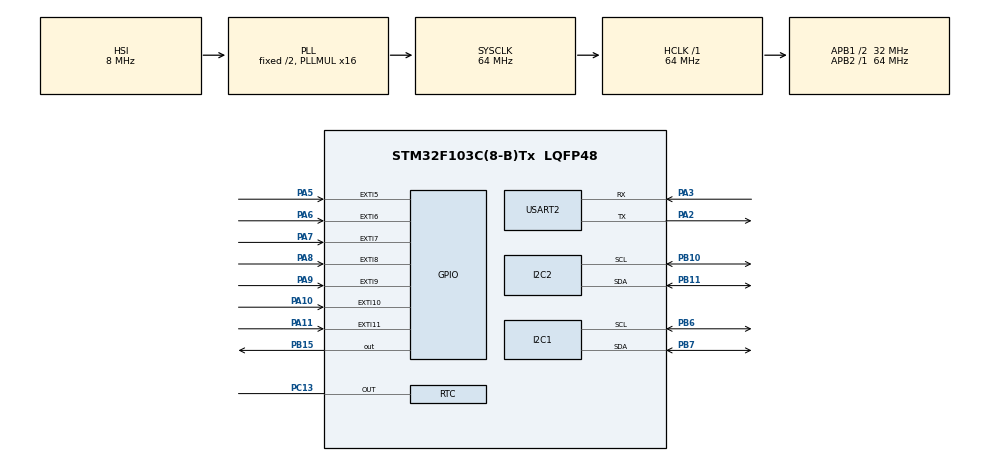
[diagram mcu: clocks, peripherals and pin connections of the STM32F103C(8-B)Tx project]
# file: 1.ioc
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Dma.I2C2_RX.1.Direction=DMA_PERIPH_TO_MEMORY
Dma.I2C2_RX.1.Instance=DMA1_Channel5
Dma.I2C2_RX.1.MemDataAlignment=DMA_MDATAALIGN_BYTE
Dma.I2C2_RX.1.MemInc=DMA_MINC_ENABLE
Dma.I2C2_RX.1.Mode=DMA_CIRCULAR
Dma.I2C2_RX.1.PeriphDataAlignment=DMA_PDATAALIGN_BYTE
Dma.I2C2_RX.1.PeriphInc=DMA_PINC_DISABLE
Dma.I2C2_RX.1.Priority=DMA_PRIORITY_LOW
Dma.MEMTOMEM.0.Direction=DMA_MEMORY_TO_MEMORY
Dma.MEMTOMEM.0.Instance=DMA1_Channel1
Dma.MEMTOMEM.0.MemDataAlignment=DMA_MDATAALIGN_BYTE
Dma.MEMTOMEM.0.MemInc=DMA_MINC_ENABLE
Dma.MEMTOMEM.0.Mode=DMA_NORMAL
Dma.MEMTOMEM.0.PeriphDataAlignment=DMA_PDATAALIGN_BYTE
Dma.MEMTOMEM.0.PeriphInc=DMA_PINC_ENABLE
Dma.MEMTOMEM.0.Priority=DMA_PRIORITY_LOW
Dma.Request0=MEMTOMEM
Dma.Request1=I2C2_RX
Mcu.Family=STM32F1
Mcu.Name=STM32F103C(8-B)Tx
Mcu.Package=LQFP48
Mcu.UserConstants=a,1
NVIC.DMA1_Channel1_IRQn=true\:0\:0\:false\:false\:true\:true\:true
NVIC.DMA1_Channel5_IRQn=true\:0\:0\:false\:false\:true\:false\:true
NVIC.EXTI15_10_IRQn=true\:0\:0\:false\:false\:true\:true\:true
NVIC.EXTI9_5_IRQn=true\:0\:0\:false\:false\:true\:true\:true
NVIC.I2C1_ER_IRQn=true\:0\:0\:false\:false\:true\:true\:true
NVIC.I2C1_EV_IRQn=true\:0\:0\:false\:false\:true\:true\:true
NVIC.I2C2_ER_IRQn=true\:0\:0\:false\:false\:true\:true\:true
NVIC.I2C2_EV_IRQn=true\:0\:0\:false\:false\:true\:true\:true
NVIC.PriorityGroup=NVIC_PRIORITYGROUP_4
NVIC.RTC_IRQn=true\:0\:0\:false\:false\:true\:true\:true
NVIC.TIM1_BRK_IRQn=true\:0\:0\:false\:false\:true\:true\:true
NVIC.TIM1_CC_IRQn=true\:0\:0\:false\:false\:true\:true\:true
NVIC.TIM1_TRG_COM_IRQn=true\:0\:0\:false\:false\:true\:true\:true
NVIC.TIM1_UP_IRQn=true\:0\:0\:false\:false\:true\:true\:true
NVIC.USART2_IRQn=true\:0\:0\:false\:false\:true\:true\:true
PA10.GPIO_ModeDefaultEXTI=GPIO_MODE_IT_FALLING
PA10.GPIO_PuPd=GPIO_PULLUP
PA10.Signal=GPXTI10
PA11.GPIO_ModeDefaultEXTI=GPIO_MODE_IT_FALLING
PA11.GPIO_PuPd=GPIO_PULLUP
PA11.Signal=GPXTI11
PA13.Mode=Serial_Wire
PA13.Signal=SYS_JTMS-SWDIO
PA14.Mode=Serial_Wire
PA14.Signal=SYS_JTCK-SWCLK
PA2.Mode=Asynchronous
PA2.Signal=USART2_TX
PA3.Mode=Asynchronous
PA3.Signal=USART2_RX
PA5.GPIO_ModeDefaultEXTI=GPIO_MODE_IT_FALLING
PA5.GPIO_PuPd=GPIO_PULLUP
PA5.Signal=GPXTI5
PA6.GPIO_ModeDefaultEXTI=GPIO_MODE_IT_FALLING
PA6.GPIO_PuPd=GPIO_PULLUP
PA6.Signal=GPXTI6
PA7.GPIO_ModeDefaultEXTI=GPIO_MODE_IT_FALLING
PA7.GPIO_PuPd=GPIO_PULLUP
PA7.Signal=GPXTI7
PA8.GPIO_ModeDefaultEXTI=GPIO_MODE_IT_FALLING
PA8.GPIO_PuPd=GPIO_PULLUP
PA8.Signal=GPXTI8
PA9.GPIO_ModeDefaultEXTI=GPIO_MODE_IT_FALLING
PA9.GPIO_PuPd=GPIO_PULLUP
PA9.Signal=GPXTI9
PB10.Mode=I2C
PB10.Signal=I2C2_SCL
PB11.Mode=I2C
PB11.Signal=I2C2_SDA
PB15.Signal=GPIO_Output
PB6.Mode=I2C
PB6.Signal=I2C1_SCL
PB7.Mode=I2C
PB7.Signal=I2C1_SDA
PC13-TAMPER-RTC.Mode=RTC OUT
PC13-TAMPER-RTC.Signal=RTC_OUT
ProjectManager.HeapSize=0x200
ProjectManager.StackSize=0x400
ProjectManager.TargetToolchain=MDK-ARM V5
RCC.AHBFreq_Value=64000000
RCC.APB1CLKDivider=RCC_HCLK_DIV2
RCC.APB1Freq_Value=32000000
RCC.APB1TimFreq_Value=64000000
RCC.APB2Freq_Value=64000000
RCC.APB2TimFreq_Value=64000000
RCC.HCLKFreq_Value=64000000
RCC.PLLMUL=RCC_PLL_MUL16
RCC.SYSCLKFreq_VALUE=64000000
RCC.SYSCLKSource=RCC_SYSCLKSOURCE_PLLCLK
RCC.USBFreq_Value=64000000
RTC.Format=RTC_FORMAT_BIN
RTC.OutPut=RTC_OUTPUTSOURCE_SECOND
TIM1.Period=999
TIM1.Prescaler=63
USART2.VirtualMode=VM_ASYNC
VP_CRC_VS_CRC.Mode=CRC_Activate
VP_RTC_VS_RTC_Activate.Mode=RTC_Enabled
VP_RTC_VS_RTC_Calendar.Mode=RTC_Calendar
VP_TIM1_VS_ClockSourceINT.Mode=Internal
board=custom

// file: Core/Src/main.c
/* USER CODE BEGIN Header */
/**
  ******************************************************************************
  * @file           : main.c
  * @brief          : Main program body
  ******************************************************************************
  * @attention
  *
  * <h2><center>&copy; Copyright (c) 2022 STMicroelectronics.
  * All rights reserved.</center></h2>
  *
  * This software component is licensed by ST under BSD 3-Clause license,
  * the "License"; You may not use this file except in compliance with the
  * License. You may obtain a copy of the License at:
  *                        opensource.org/licenses/BSD-3-Clause
  *
  ******************************************************************************
  */
/* USER CODE END Header */
#include "main.h"
#include "crc.h"
#include "dma.h"
#include "i2c.h"
#include "rtc.h"
#include "tim.h"
#include "usart.h"
#include "gpio.h"

/* USER CODE BEGIN Includes */
#include "stdio.h"
#include "oled.h"
#include "ds18b20.h"
/* USER CODE END Includes */

/* USER CODE BEGIN PTD */
#define time_sleep 20000		//设置休眠时间，单位ms
char lcdLine_1st_line[16];
char lcdLine_2st_line[16];
unsigned int time_100ms=1,time_500ms=1,sleep_time=1;
unsigned int key_flag=0;
unsigned int key_1=0;	//判断按键1按下次数
float value;
/* USER CODE END PTD */

void SystemClock_Config(void);

/* USER CODE BEGIN 0 */
void key(void);
void sleep(void);
void time(void);
/* USER CODE END 0 */

int main(void)
{

  /* MCU Configuration--------------------------------------------------------*/

  /* Reset of all peripherals, Initializes the Flash interface and the Systick. */
  HAL_Init();

  /* Configure the system clock */
  SystemClock_Config();

  /* Initialize all configured peripherals */
  MX_GPIO_Init();
  MX_DMA_Init();
  MX_CRC_Init();
  MX_I2C1_Init();
  MX_I2C2_Init();
  MX_RTC_Init();
  MX_TIM1_Init();
  MX_USART2_UART_Init();
  /* USER CODE BEGIN 2 */
	HAL_Delay(100);
	OLED_Init();
	HAL_TIM_Base_Start_IT(&htim1);
	sprintf(lcdLine_2st_line, "welcome");
	DS18B20_Init();
//	HAL_RTC_SetAlarm_IT(&hrtc,);
  /* USER CODE END 2 */

  /* Infinite loop */
  while (1)
  {

    /* USER CODE BEGIN 3 */
//		HAL_GPIO_TogglePin(GPIOB, GPIO_PIN_15);
//		HAL_Delay(1000);

		if(time_500ms==1)
		{
			HAL_RTC_GetTime(&hrtc, &sTime, RTC_FORMAT_BIN);
			HAL_RTC_GetDate(&hrtc, &sdata, RTC_FORMAT_BIN);
			value=DS18B20_Get_Temp();
			time_500ms=0;
		}
		if(time_100ms==1)
		{
			OLED_ShowString(0, 0, (unsigned char *)lcdLine_1st_line, 16);
			OLED_ShowString(0, 2, (unsigned char *)lcdLine_2st_line, 16);
			time_100ms=0;
		}
		key();
		time();
  }
  /* USER CODE END 3 */
}
/* USER CODE BEGIN 4 */
void key()		//控制显示屏第二行
{
	static unsigned int hour,min,sec;
	static unsigned int time_allow=0,clock_allow=0,temp_allow;
	if(key_flag!=0)
	{
		sleep_time=1;
		HAL_GPIO_TogglePin(GPIOB, GPIO_PIN_15);
		if(key_flag==1)		//设置时间、闹钟、温度查看的按键
		{
			if(key_1==0)		//查看时间
			{
				OLED_Clear();
				hour=sTime.Hours;
				min=sTime.Minutes;
				sec=sTime.Seconds;
				time_allow=1;clock_allow=0;temp_allow=0;
				OLED_ShowString(84, 2, (unsigned char *)"time", 8);
			}
			if(key_1==1)		//查看闹钟
			{
				OLED_Clear();
				time_allow=0;clock_allow=1;temp_allow=0;
				OLED_ShowString(84, 2, (unsigned char *)"alarm ", 8);
			}
			if(key_1==2)		//查看温度
			{
				OLED_Clear();
				time_allow=0;clock_allow=0;temp_allow=1;
				OLED_ShowString(45, 2, (unsigned char *)".C", 8);
			}
			key_1++;
			if(key_1==3)	key_1=0;
		}
		if(key_flag==2)		//确认键
		{
			if(time_allow==1)
			{
				sTime.Hours=hour;
				sTime.Minutes=min;
				sTime.Seconds=sec;
				HAL_RTC_SetTime(&hrtc, &sTime, RTC_FORMAT_BIN);
			}
		}
		if(key_flag==6)		//断电键
		{
			time_allow=0;clock_allow=0;
			sleep_time=time_sleep-1;	//下一个1ms便断电
		}
		key_flag=0;
	}
	//以下代码，附属摁键1之后的操作
	{
		if(time_allow==1)
		{
			if(key_flag==3)
			{
				hour++;
				if(hour==24)	hour=0;
			}
			if(key_flag==4)
			{
				min++;
				if(min==60)		min=0;
			}
			if(key_flag==5)
			{
				sec++;
				if(sec==60)		sec=0;
			}
			if(sleep_time!=0)
				sprintf(lcdLine_2st_line, "%2d:%2d:%2d",hour,min,sec);
		}
		if(temp_allow==1)
		{
			if(sleep_time!=0)
				sprintf(lcdLine_2st_line, "%.2f",value);
		}
	}
}
void time()		//控制显示屏第一行——时间
{
	if(sleep_time!=0)
	{
		sprintf(lcdLine_1st_line, "%2d-%2d-%2d",sTime.Hours,sTime.Minutes,sTime.Seconds);
		if(sTime.Hours<13)
		{
			OLED_ShowString(72, 0, (unsigned char *)"AM", 8);
		}
		if(sTime.Hours>13)
		{
			OLED_ShowString(72, 0, (unsigned char *)"PM", 8);
		}
	}
}
void sleep()
{
	key_1=0;
	sprintf(lcdLine_1st_line, "                    ");
	sprintf(lcdLine_2st_line, "                    ");
}
//void HAL_RTC_AlarmAEventCallback(RTC_HandleTypeDef *hrtc)
//{
//	HAL_GPIO_TogglePin(GPIOB, GPIO_PIN_15);
//}
void HAL_GPIO_EXTI_Callback(uint16_t GPIO_Pin)
{
	static unsigned int i=0;
	if(GPIO_Pin==GPIO_PIN_5)
	{
		i++;
		if(i==2)
		{
			key_flag=1;		//设置键
			i=0;
		}
	}
	if(GPIO_Pin==GPIO_PIN_6)
	{
		i++;
		if(i==2)
		{
			key_flag=2;
			i=0;
		}
	}
	if(GPIO_Pin==GPIO_PIN_7)
	{
		i++;
		if(i==3)
		{
			key_flag=3;
			i=0;
		}
	}
	if(GPIO_Pin==GPIO_PIN_8)
	{
		i++;
		if(i==2)
		{
			key_flag=4;
			i=0;
		}
	}
	if(GPIO_Pin==GPIO_PIN_9)
	{
		i++;
		if(i==2)
		{
			key_flag=5;
			i=0;
		}
	}
	if(GPIO_Pin==GPIO_PIN_10)
	{
		i++;
		if(i==2)
		{
			key_flag=6;
			HAL_NVIC_SystemReset();
			i=0;
		}
	}
	if(GPIO_Pin==GPIO_PIN_11)
	{
		i++;
		if(i==2)
		{
			key_flag=7;
			i=0;
		}
	}
}
void HAL_TIM_PeriodElapsedCallback(TIM_HandleTypeDef *htim)
{
	if(htim->Instance==TIM1)
	{
		static unsigned int a1,b;
		a1++;b++;
		if(a==100)
		{
			time_100ms=!time_100ms;
			a1=0;
		}
		if(b==500)
		{
			time_500ms=!time_500ms;
			b=0;
		}
		if(sleep_time!=0)
		{
			sleep_time++;
			if(sleep_time==time_sleep)
			{
				sleep();
				sleep_time=0;
			}
		}
	}
}
/* USER CODE END 4 */
void SystemClock_Config(void)
{
  RCC_OscInitTypeDef RCC_OscInitStruct = {0};
  RCC_ClkInitTypeDef RCC_ClkInitStruct = {0};
  RCC_PeriphCLKInitTypeDef PeriphClkInit = {0};

  /** Initializes the RCC Oscillators according to the specified parameters
  * in the RCC_OscInitTypeDef structure.
  */
  RCC_OscInitStruct.OscillatorType = RCC_OSCILLATORTYPE_HSI|RCC_OSCILLATORTYPE_LSI;
  RCC_OscInitStruct.HSIState = RCC_HSI_ON;
  RCC_OscInitStruct.HSICalibrationValue = RCC_HSICALIBRATION_DEFAULT;
  RCC_OscInitStruct.LSIState = RCC_LSI_ON;
  RCC_OscInitStruct.PLL.PLLState = RCC_PLL_ON;
  RCC_OscInitStruct.PLL.PLLSource = RCC_PLLSOURCE_HSI_DIV2;
  RCC_OscInitStruct.PLL.PLLMUL = RCC_PLL_MUL16;
  if (HAL_RCC_OscConfig(&RCC_OscInitStruct) != HAL_OK)
  {
    Error_Handler();
  }
  /** Initializes the CPU, AHB and APB buses clocks
  */
  RCC_ClkInitStruct.ClockType = RCC_CLOCKTYPE_HCLK|RCC_CLOCKTYPE_SYSCLK
                              |RCC_CLOCKTYPE_PCLK1|RCC_CLOCKTYPE_PCLK2;
  RCC_ClkInitStruct.SYSCLKSource = RCC_SYSCLKSOURCE_PLLCLK;
  RCC_ClkInitStruct.AHBCLKDivider = RCC_SYSCLK_DIV1;
  RCC_ClkInitStruct.APB1CLKDivider = RCC_HCLK_DIV2;
  RCC_ClkInitStruct.APB2CLKDivider = RCC_HCLK_DIV1;

  if (HAL_RCC_ClockConfig(&RCC_ClkInitStruct, FLASH_LATENCY_2) != HAL_OK)
  {
    Error_Handler();
  }
  PeriphClkInit.PeriphClockSelection = RCC_PERIPHCLK_RTC;
  PeriphClkInit.RTCClockSelection = RCC_RTCCLKSOURCE_LSI;
  if (HAL_RCCEx_PeriphCLKConfig(&PeriphClkInit) != HAL_OK)
  {
    Error_Handler();
  }
}

void Error_Handler(void)
{
  __disable_irq();
  while (1)
  {
  }
}

/************************ (C) COPYRIGHT STMicroelectronics *****END OF FILE****/
